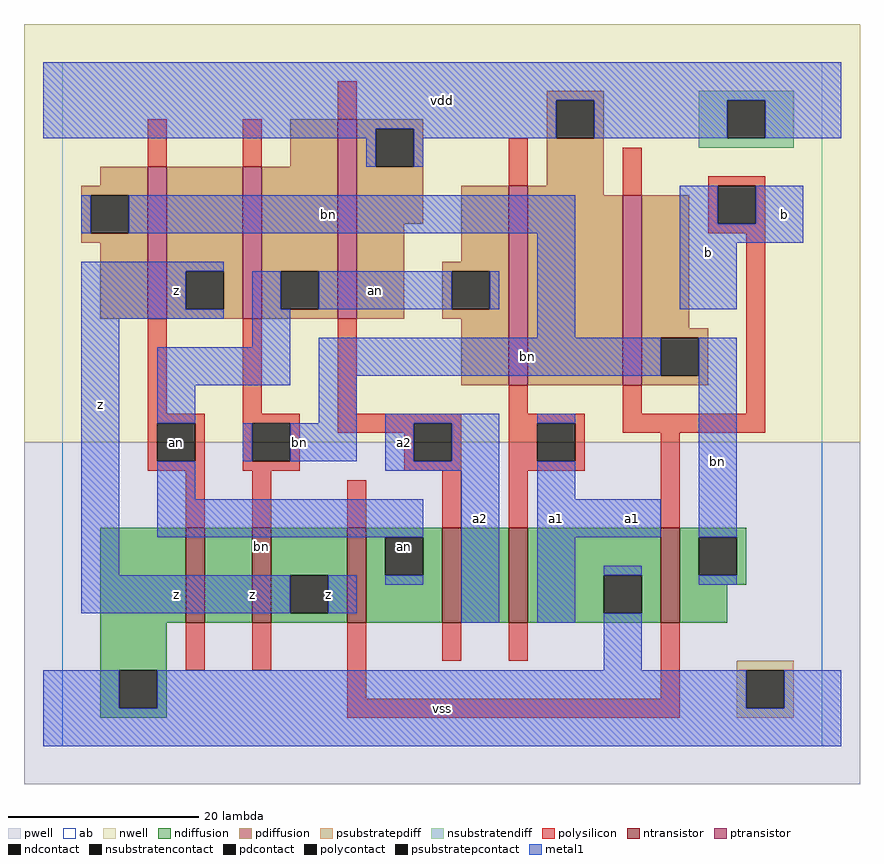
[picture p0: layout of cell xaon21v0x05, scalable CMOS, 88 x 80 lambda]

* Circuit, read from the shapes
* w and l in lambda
.subckt xaon21v0x05 a1 a2 an b bn vdd vss z
M1 n1 an vss vss nfet w=10 l=2
M2 z bn n1 vss nfet w=10 l=2
M3 an b z vss nfet w=10 l=2
M4 n2 a2 an vss nfet w=10 l=2
M5 vss a1 n2 vss nfet w=10 l=2
M6 bn b vss vss nfet w=10 l=2
M7 z an bn vdd pfet w=16 l=2
M8 an bn z vdd pfet w=16 l=2
M9 vdd a2 an vdd pfet w=21 l=2
M10 vdd a1 an vdd pfet w=21 l=2
M11 bn b vdd vdd pfet w=20 l=2
.ends

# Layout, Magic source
magic
tech scmos
<< ab >>
rect 0 0 80 72
<< pwell >>
rect -4 -4 84 32
<< nwell >>
rect -4 32 84 76
<< polysilicon >>
rect 29 66 31 70
rect 9 61 11 66
rect 19 61 21 66
rect 47 59 49 64
rect 9 35 11 45
rect 19 35 21 45
rect 29 35 31 45
rect 59 58 61 63
rect 68 59 74 60
rect 68 55 69 59
rect 73 55 74 59
rect 68 54 74 55
rect 47 35 49 38
rect 59 35 61 38
rect 72 35 74 54
rect 9 34 15 35
rect 9 30 10 34
rect 14 30 15 34
rect 9 29 15 30
rect 19 34 25 35
rect 19 30 20 34
rect 24 30 25 34
rect 29 34 42 35
rect 29 33 37 34
rect 19 29 25 30
rect 36 30 37 33
rect 41 30 42 34
rect 36 29 42 30
rect 13 23 15 29
rect 20 23 22 29
rect 30 23 32 28
rect 40 23 42 29
rect 47 34 55 35
rect 47 30 50 34
rect 54 30 55 34
rect 59 33 74 35
rect 47 29 55 30
rect 47 23 49 29
rect 63 23 65 33
rect 13 8 15 13
rect 20 8 22 13
rect 30 5 32 13
rect 40 9 42 13
rect 47 9 49 13
rect 63 5 65 13
rect 30 3 65 5
<< ndiffusion >>
rect 4 13 13 23
rect 15 13 20 23
rect 22 18 30 23
rect 22 14 24 18
rect 28 14 30 18
rect 22 13 30 14
rect 32 22 40 23
rect 32 18 34 22
rect 38 18 40 22
rect 32 13 40 18
rect 42 13 47 23
rect 49 18 63 23
rect 49 14 57 18
rect 61 14 63 18
rect 49 13 63 14
rect 65 22 72 23
rect 65 18 67 22
rect 71 18 72 22
rect 65 17 72 18
rect 65 13 70 17
rect 4 8 11 13
rect 4 4 6 8
rect 10 4 11 8
rect 4 3 11 4
<< pdiffusion >>
rect 51 68 57 69
rect 24 61 29 66
rect 4 59 9 61
rect 2 58 9 59
rect 2 54 3 58
rect 7 54 9 58
rect 2 53 9 54
rect 4 45 9 53
rect 11 50 19 61
rect 11 46 13 50
rect 17 46 19 50
rect 11 45 19 46
rect 21 50 29 61
rect 21 46 23 50
rect 27 46 29 50
rect 21 45 29 46
rect 31 65 38 66
rect 31 61 33 65
rect 37 61 38 65
rect 51 64 52 68
rect 56 64 57 68
rect 31 55 38 61
rect 51 59 57 64
rect 31 45 36 55
rect 42 51 47 59
rect 40 50 47 51
rect 40 46 41 50
rect 45 46 47 50
rect 40 45 47 46
rect 42 38 47 45
rect 49 58 57 59
rect 49 38 59 58
rect 61 44 66 58
rect 61 43 68 44
rect 61 39 63 43
rect 67 39 68 43
rect 61 38 68 39
<< metal1 >>
rect -2 68 82 72
rect -2 65 52 68
rect -2 64 33 65
rect 32 61 33 64
rect 37 64 52 65
rect 56 64 70 68
rect 74 64 82 68
rect 37 61 38 64
rect 2 54 3 58
rect 7 54 54 58
rect 2 50 17 51
rect 2 46 13 50
rect 2 45 17 46
rect 20 46 23 50
rect 27 46 41 50
rect 45 46 46 50
rect 2 18 6 45
rect 20 42 24 46
rect 50 43 54 54
rect 65 55 69 59
rect 73 55 78 59
rect 65 53 78 55
rect 65 46 71 53
rect 10 38 24 42
rect 27 39 63 43
rect 10 34 14 38
rect 27 34 31 39
rect 19 30 20 34
rect 24 30 31 34
rect 34 34 46 35
rect 34 30 37 34
rect 41 30 46 34
rect 10 26 14 30
rect 34 29 46 30
rect 10 22 38 26
rect 2 14 24 18
rect 28 14 31 18
rect 34 17 38 18
rect 42 13 46 29
rect 50 34 54 35
rect 50 26 54 30
rect 50 22 63 26
rect 67 22 71 43
rect 50 13 54 22
rect 57 18 61 19
rect 67 17 71 18
rect 57 8 61 14
rect -2 4 6 8
rect 10 4 72 8
rect 76 4 82 8
rect -2 0 82 4
<< ntransistor >>
rect 13 13 15 23
rect 20 13 22 23
rect 30 13 32 23
rect 40 13 42 23
rect 47 13 49 23
rect 63 13 65 23
<< ptransistor >>
rect 9 45 11 61
rect 19 45 21 61
rect 29 45 31 66
rect 47 38 49 59
rect 59 38 61 58
<< polycontact >>
rect 69 55 73 59
rect 10 30 14 34
rect 20 30 24 34
rect 37 30 41 34
rect 50 30 54 34
<< ndcontact >>
rect 24 14 28 18
rect 34 18 38 22
rect 57 14 61 18
rect 67 18 71 22
rect 6 4 10 8
<< pdcontact >>
rect 3 54 7 58
rect 13 46 17 50
rect 23 46 27 50
rect 33 61 37 65
rect 52 64 56 68
rect 41 46 45 50
rect 63 39 67 43
<< psubstratepcontact >>
rect 72 4 76 8
<< nsubstratencontact >>
rect 70 64 74 68
<< psubstratepdiff >>
rect 71 8 77 9
rect 71 4 72 8
rect 76 4 77 8
rect 71 3 77 4
<< nsubstratendiff >>
rect 67 68 77 69
rect 67 64 70 68
rect 74 64 77 68
rect 67 63 77 64
<< labels >>
rlabel ntransistor 21 21 21 21 6 bn
rlabel polycontact 12 32 12 32 6 an
rlabel metal1 12 16 12 16 6 z
rlabel metal1 4 36 4 36 6 z
rlabel polycontact 12 32 12 32 6 an
rlabel metal1 12 48 12 48 6 z
rlabel metal1 28 16 28 16 6 z
rlabel ndcontact 36 21 36 21 6 an
rlabel metal1 20 16 20 16 6 z
rlabel metal1 25 32 25 32 6 bn
rlabel metal1 36 32 36 32 6 a2
rlabel metal1 40 4 40 4 6 vss
rlabel metal1 44 24 44 24 6 a2
rlabel metal1 52 24 52 24 6 a1
rlabel metal1 33 48 33 48 6 an
rlabel metal1 28 56 28 56 6 bn
rlabel metal1 40 68 40 68 6 vdd
rlabel metal1 60 24 60 24 6 a1
rlabel metal1 69 30 69 30 6 bn
rlabel metal1 49 41 49 41 6 bn
rlabel metal1 68 52 68 52 6 b
rlabel metal1 76 56 76 56 6 b
<< end >>
